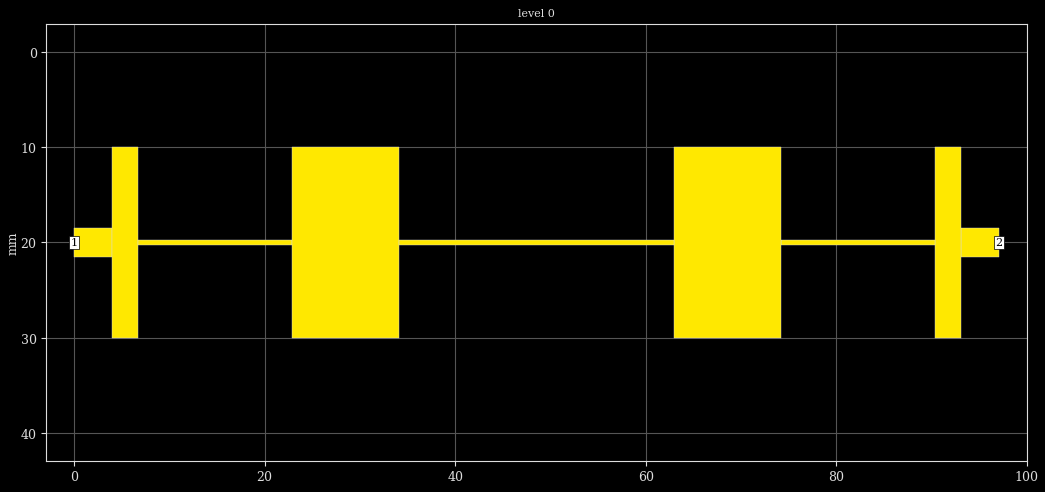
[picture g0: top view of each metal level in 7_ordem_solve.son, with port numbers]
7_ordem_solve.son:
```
FTYP SONPROJ 13 ! Sonnet Project File
VER 15.53.lite
HEADER
LIC SL290709.106431 847bebfebdba DESKTOP-1CMJ3DP Arihe
DAT 05/06/2019 13:09:33
BUILT_BY_CREATED xgeom 15.53-Lite 04/13/2019 20:59:13
BUILT_BY_SAVED xgeom 15.53-Lite
MDATE 05/06/2019 01:29:11
HDATE 05/06/2019 01:29:11
END HEADER
DIM
FREQ GHZ
RSVY OHMM
IND NH
LNG MM
ANG DEG
CON /OH
CAP PF
RES OH
END DIM
FREQ
ABS 1.0e-9 3.0 
END FREQ
CONTROL
ABS
OPTIONS  -dj 
SPEED 0
CACHE_ABS 1
TARG_ABS 300
Q_ACC N
END CONTROL
GEO
DRP1 LEFT LINK
POLY 12 1
1
DRP1 RIGHT LINK
POLY 14 1
0
TMET "Lossless" 0 SUP 0 0 0 0
BMET "Lossless" 0 SUP 0 0 0 0
MET "Copper" 1 NOR 58000000 0 0.0347 
BOX 1 97.1 40 1942 160 20 0
      20 1 1 0 0 0 0 "Air"
      1.5306 4.4 1 0.02 0 0 0 "FR-4"
LORGN 0 40 U 
POR1 STD
POLY 12 1
3
1 50 0 0 0 -1.484743677e-006 20 
POR1 STD
POLY 14 1
1
2 50 0 0 0 97.09999852 20 
NUM 9
0 5 0 N 12 1 1 100 100 0 0 0 Y
-1.484743677e-006 18.45
3.999998515 18.45
3.999998515 21.55
-1.484743677e-006 21.55
-1.484743677e-006 18.45
END
0 5 0 N 14 1 1 100 100 0 0 0 Y
93.09999852 18.45
97.09999852 18.45
97.09999852 21.55
93.09999852 21.55
93.09999852 18.45
END
0 5 0 N 28 1 1 100 100 0 0 0 Y
4.000000742 10
6.700000742 10
6.700000742 30
4.000000742 30
4.000000742 10
END
0 5 0 N 29 1 1 100 100 0 0 0 Y
90.40000074 10
93.10000074 10
93.10000074 30
90.40000074 30
90.40000074 10
END
0 5 0 N 32 1 1 100 100 0 0 0 Y
6.700000742 19.75
22.90000074 19.75
22.90000074 20.25
6.700000742 20.25
6.700000742 19.75
END
0 5 0 N 33 1 1 100 100 0 0 0 Y
74.20000074 19.75
90.40000074 19.75
90.40000074 20.25
74.20000074 20.25
74.20000074 19.75
END
0 5 0 N 36 1 1 100 100 0 0 0 Y
22.90000074 10
34.15000074 10
34.15000074 30
22.90000074 30
22.90000074 10
END
0 5 0 N 37 1 1 100 100 0 0 0 Y
63.00000074 10
74.25000074 10
74.25000074 30
63.00000074 30
63.00000074 10
END
0 5 0 N 40 1 1 100 100 0 0 0 Y
34.10000074 19.75
63.00000074 19.75
63.00000074 20.25
34.10000074 20.25
34.10000074 19.75
END
END GEO
OPT
MAX 100
VARS
END
END OPT
VARSWP
END VARSWP
FILEOUT
FOLDER "C:\Users\Arihe\Desktop\Simulacao Filtros\Chebyshev 3 ordem"
END FILEOUT
QSG
IMPORT NO
EXTRA_METAL NO
UNITS YES
ALIGN NO
REF NO
VIEW_RES NO
METALS YES
USED NO
END QSG
```
